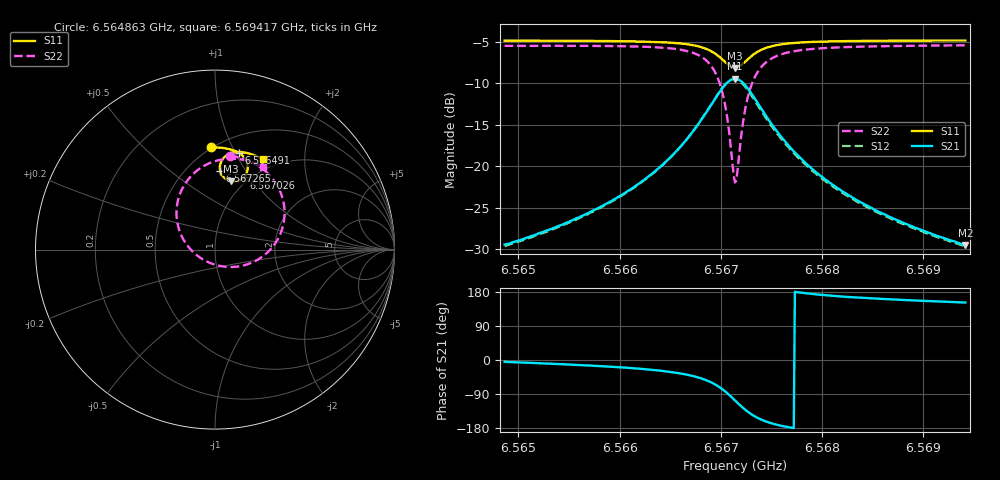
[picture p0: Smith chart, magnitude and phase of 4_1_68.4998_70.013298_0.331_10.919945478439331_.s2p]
#  HZ  S  RI  R  50.00
! Rohde & Schwarz Vector Network Analyzer
! Rohde-Schwarz,ZNB20-2Port,1311601062101988,3.16
! Created: UTC 3/20/2024, 4:48:44 PM
! freq[Hz]  re:S11  im:S11  re:S21  im:S21  re:S12  im:S12  re:S22  im:S22
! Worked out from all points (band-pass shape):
!   401 points, 6.564863 GHz to 6.569417 GHz, reference 50 ohm
!   highest |S21| = -9.48 dB at 6.56714 GHz (marker M1); lowest = -29.5 dB at 6.569417 GHz (marker M2)
!   |S21| within 3 dB of the highest: 6.566912 GHz to 6.567368 GHz (455.5 kHz wide, 0.00694 % of centre)
!   lowest |S11| = -8.2 dB at 6.56714 GHz (marker M3), VSWR 2.28, Z = 43.3 + j38.9 ohm
!   |S11| at or under -10 dB: nowhere
!   |S22| runs from -22.0 to -5.4 dB; largest |S21 - S12| = 0.018
!   S11 on the Smith chart (normalised r, x): 6.564863 GHz: 0.49, +0.83; 6.566491 GHz: 0.67, +1.04; 6.567026 GHz: 0.94, +0.93; 6.567265 GHz: 0.71, +0.77; 6.569417 GHz: 0.85, +1.28
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6.5648631e9  -0.0219 0.5691  0.0336 -0.0029  0.0328 -0.00341  0.0839 0.5234
6.5656258e9  0.0433 0.5664  0.0487 -0.0117  0.0479 -0.0124  0.1643 0.5038
6.566047e9  0.0835 0.559  0.0646 -0.0235  0.0635 -0.0244  0.2222 0.478
6.5663885e9  0.1211 0.5453  0.0865 -0.0456  0.0851 -0.0466  0.2856 0.4328
6.566491e9  0.1339 0.5381  0.0957 -0.0575  0.0942 -0.0589  0.3093 0.4088
6.5666959e9  0.1619 0.5139  0.1169 -0.0997  0.115 -0.102  0.3623 0.3266
6.5668553e9  0.1807 0.4751  0.1258 -0.1684  0.1224 -0.1724  0.3874 0.194
6.5669577e9  0.1788 0.4339  0.104 -0.241  0.0968 -0.2463  0.3482 0.0555
6.5670261e9  0.1598 0.4021  0.0559 -0.2952  0.0441 -0.2992  0.2567 -0.0443
6.567083e9  0.128 0.3826  -0.0125 -0.3256  -0.0282 -0.3251  0.128 -0.0943
6.5671171e9  0.1037 0.379  -0.0624 -0.3283  -0.0788 -0.3237  0.0368 -0.093
6.5671399e9  0.087 0.3809  -0.0961 -0.3218  -0.1119 -0.3143  -0.0229 -0.0765
6.5671627e9  0.0712 0.3865  -0.128 -0.3089  -0.1424 -0.2984  -0.0776 -0.0484
6.5672196e9  0.0407 0.4126  -0.1887 -0.255  -0.1972 -0.2404  -0.176 0.0561
6.5672651e9  0.0293 0.4387  -0.2131 -0.2034  -0.2169 -0.1885  -0.2098 0.1507
6.5673562e9  0.032 0.4845  -0.2149 -0.1154  -0.2127 -0.104  -0.1976 0.3041
6.5674928e9  0.0595 0.5221  -0.1774 -0.0427  -0.1733 -0.0365  -0.117 0.4259
6.5676522e9  0.0918 0.5389  -0.1365 -0.00811  -0.133 -0.00486  -0.0326 0.4807
6.5679026e9  0.1308 0.5442  -0.0958 0.00979  -0.0933 0.0113  0.0562 0.5045
6.5682441e9  0.1707 0.5399  -0.0661 0.0159  -0.0645 0.0165  0.1309 0.5045
6.5686653e9  0.2098 0.529  -0.0468 0.0168  -0.0456 0.0173  0.1918 0.4923
6.5694167e9  0.2689 0.5038  -0.0295 0.0159  -0.0289 0.016  0.2674 0.4623
